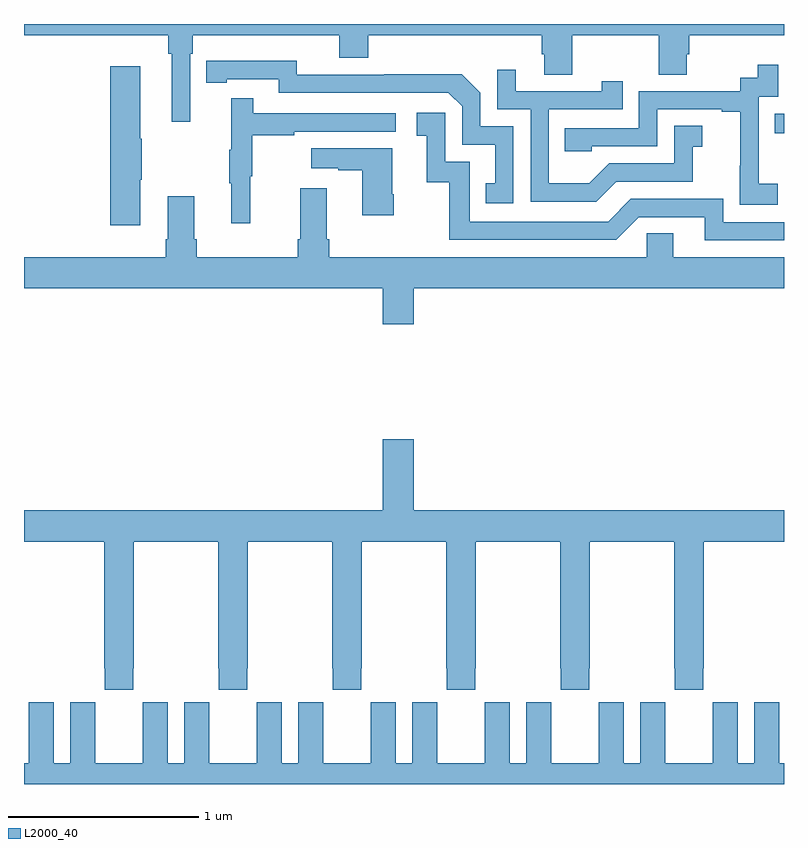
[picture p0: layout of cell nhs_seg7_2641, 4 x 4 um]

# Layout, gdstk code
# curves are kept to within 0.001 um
import gdstk
lib = gdstk.Library(unit=1e-6, precision=1e-09)
def R(c, l, rs):  # rectangles x0, y0, x1, y1
    for r in rs: c.add(gdstk.rectangle(r[:2], r[2:], *l))
def P(c, l, *ps):  # polygons
    for p in ps: c.add(gdstk.Polygon(p, *l))
L2000_40 = (2000, 40)

nhs_seg7_2641 = lib.new_cell('nhs_seg7_2641')
R(nhs_seg7_2641, L2000_40, [(286.951,1009.426,287,1009.527)])
P(nhs_seg7_2641, L2000_40, [(283.875,1009.844),(283.889,1009.844),(283.889,1009.94),(284.66,1009.94),(284.66,1009.823),(284.813,1009.823),(284.813,1009.94),(285.725,1009.94),(285.725,1009.842),(285.737,1009.842),(285.737,1009.732),(285.885,1009.732),(285.885,1009.94),(286.342,1009.94),(286.342,1009.732),(286.489,1009.732),(286.489,1009.842),(286.502,1009.842),(286.502,1009.94),(287,1009.94),(287,1010),(283,1010),(283,1009.94),(283.759,1009.94),(283.759,1009.844),(283.778,1009.844),(283.778,1009.485),(283.875,1009.485)],
  [(285.576,1009.461),(285.402,1009.461),(285.402,1009.638),(285.304,1009.736),(284.896,1009.736),(284.896,1009.734),(284.436,1009.734),(284.436,1009.807),(283.96,1009.806),(283.96,1009.69),(284.068,1009.69),(284.068,1009.71),(284.34,1009.71),(284.34,1009.638),(285.234,1009.638),(285.306,1009.566),(285.306,1009.365),(285.479,1009.365),(285.479,1009.161),(285.43,1009.161),(285.43,1009.056),(285.576,1009.056)],
  [(286.966,1009.159),(286.868,1009.159),(286.868,1009.388),(286.866,1009.388),(286.866,1009.617),(286.971,1009.617),(286.971,1009.786),(286.863,1009.786),(286.863,1009.716),(286.77,1009.716),(286.77,1009.647),(286.236,1009.647),(286.236,1009.452),(285.847,1009.452),(285.847,1009.329),(285.987,1009.329),(285.987,1009.356),(286.332,1009.356),(286.332,1009.551),(286.673,1009.551),(286.673,1009.539),(286.769,1009.539),(286.769,1009.255),(286.768,1009.255),(286.768,1009.049),(286.966,1009.049)],
  [(283.612,1009.18),(283.62,1009.18),(283.62,1009.397),(283.612,1009.397),(283.612,1009.777),(283.454,1009.777),(283.454,1008.942),(283.612,1008.942)],
  [(286.117,1009.17),(286.521,1009.17),(286.521,1009.355),(286.57,1009.355),(286.57,1009.465),(286.422,1009.465),(286.422,1009.266),(286.08,1009.266),(285.976,1009.162),(285.762,1009.162),(285.762,1009.551),(286.151,1009.551),(286.151,1009.699),(286.04,1009.699),(286.04,1009.647),(285.589,1009.647),(285.589,1009.759),(285.492,1009.759),(285.492,1009.551),(285.666,1009.551),(285.666,1009.065),(286.012,1009.065)],
  [(284.192,1009.2),(284.2,1009.2),(284.2,1009.414),(284.423,1009.414),(284.423,1009.434),(284.956,1009.434),(284.956,1009.53),(284.207,1009.53),(284.207,1009.609),(284.09,1009.609),(284.09,1009.337),(284.079,1009.337),(284.079,1009.163),(284.09,1009.163),(284.09,1008.951),(284.192,1008.951)],
  [(287,1008.957),(286.68,1008.957),(286.68,1009.08),(286.194,1009.08),(286.074,1008.96),(285.345,1008.96),(285.345,1009.275),(285.216,1009.275),(285.216,1009.534),(285.066,1009.534),(285.066,1009.413),(285.119,1009.413),(285.119,1009.167),(285.237,1009.167),(285.237,1008.864),(286.116,1008.864),(286.236,1008.984),(286.583,1008.984),(286.583,1008.861),(287,1008.861)],
  [(284.946,1009.105),(284.938,1009.105),(284.938,1009.345),(284.511,1009.345),(284.511,1009.241),(284.654,1009.241),(284.654,1009.231),(284.78,1009.231),(284.78,1008.993),(284.946,1008.993)],
  [(285.052,1008.608),(287,1008.608),(287,1008.772),(286.417,1008.772),(286.417,1008.899),(286.278,1008.899),(286.278,1008.772),(284.606,1008.772),(284.606,1008.868),(284.593,1008.868),(284.593,1009.135),(284.453,1009.135),(284.453,1008.868),(284.441,1008.868),(284.441,1008.772),(283.91,1008.772),(283.91,1008.868),(283.897,1008.868),(283.897,1009.093),(283.757,1009.093),(283.757,1008.868),(283.745,1008.868),(283.745,1008.772),(283,1008.772),(283,1008.608),(284.888,1008.608),(284.888,1008.42),(285.052,1008.42)],
  [(283.575,1006.609),(283.578,1006.609),(283.578,1007.276),(284.023,1007.276),(284.023,1006.609),(284.025,1006.609),(284.025,1006.497),(284.175,1006.497),(284.175,1006.609),(284.178,1006.609),(284.178,1007.276),(284.623,1007.276),(284.623,1006.609),(284.625,1006.609),(284.625,1006.497),(284.775,1006.497),(284.775,1006.609),(284.778,1006.609),(284.778,1007.276),(285.223,1007.276),(285.223,1006.609),(285.225,1006.609),(285.225,1006.497),(285.375,1006.497),(285.375,1006.609),(285.378,1006.609),(285.378,1007.276),(285.823,1007.276),(285.823,1006.609),(285.825,1006.609),(285.825,1006.497),(285.975,1006.497),(285.975,1006.609),(285.978,1006.609),(285.978,1007.276),(286.423,1007.276),(286.423,1006.609),(286.425,1006.609),(286.425,1006.497),(286.575,1006.497),(286.575,1006.609),(286.578,1006.609),(286.578,1007.276),(287,1007.276),(287,1007.44),(285.052,1007.44),(285.052,1007.815),(284.888,1007.815),(284.888,1007.44),(283,1007.44),(283,1007.276),(283.423,1007.276),(283.423,1006.609),(283.425,1006.609),(283.425,1006.497),(283.575,1006.497)],
  [(287,1006.108),(286.975,1006.108),(286.975,1006.316),(286.974,1006.316),(286.974,1006.429),(286.844,1006.429),(286.844,1006.108),(286.756,1006.108),(286.756,1006.429),(286.626,1006.429),(286.626,1006.316),(286.625,1006.316),(286.625,1006.108),(286.375,1006.108),(286.375,1006.316),(286.374,1006.316),(286.374,1006.429),(286.244,1006.429),(286.244,1006.108),(286.156,1006.108),(286.156,1006.429),(286.026,1006.429),(286.026,1006.316),(286.025,1006.316),(286.025,1006.108),(285.775,1006.108),(285.775,1006.316),(285.774,1006.316),(285.774,1006.429),(285.644,1006.429),(285.644,1006.108),(285.556,1006.108),(285.556,1006.429),(285.426,1006.429),(285.426,1006.316),(285.425,1006.316),(285.425,1006.108),(285.175,1006.108),(285.175,1006.316),(285.174,1006.316),(285.174,1006.429),(285.044,1006.429),(285.044,1006.108),(284.956,1006.108),(284.956,1006.429),(284.826,1006.429),(284.826,1006.316),(284.825,1006.316),(284.825,1006.108),(284.575,1006.108),(284.575,1006.316),(284.574,1006.316),(284.574,1006.429),(284.444,1006.429),(284.444,1006.108),(284.356,1006.108),(284.356,1006.429),(284.226,1006.429),(284.226,1006.316),(284.225,1006.316),(284.225,1006.108),(283.975,1006.108),(283.975,1006.316),(283.974,1006.316),(283.974,1006.429),(283.844,1006.429),(283.844,1006.108),(283.756,1006.108),(283.756,1006.429),(283.626,1006.429),(283.626,1006.316),(283.625,1006.316),(283.625,1006.108),(283.375,1006.108),(283.375,1006.316),(283.374,1006.316),(283.374,1006.429),(283.244,1006.429),(283.244,1006.108),(283.156,1006.108),(283.156,1006.429),(283.026,1006.429),(283.026,1006.316),(283.025,1006.316),(283.025,1006.108),(283,1006.108),(283,1006),(287,1006)])

lib.write_gds('nhs_seg7_2641.gds')
